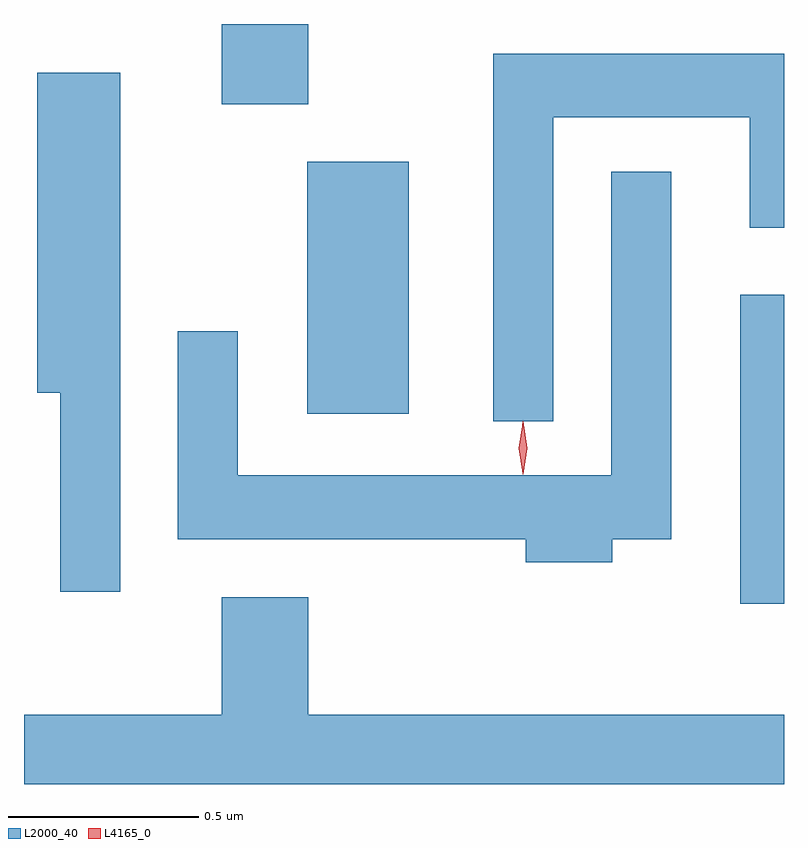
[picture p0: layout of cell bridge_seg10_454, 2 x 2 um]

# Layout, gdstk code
import gdstk
lib = gdstk.Library(unit=1e-6, precision=1e-09)
def R(c, l, rs):  # rectangles x0, y0, x1, y1
    for r in rs: c.add(gdstk.rectangle(r[:2], r[2:], *l))
def P(c, l, *ps):  # polygons
    for p in ps: c.add(gdstk.Polygon(p, *l))
L2000_40 = (2000, 40)
L4165_0 = (4165, 0)

bridge_seg10_454 = lib.new_cell('bridge_seg10_454')
R(bridge_seg10_454, L2000_40, [(1441.846,2085.616,1441.961,2086.429), (1440.706,2086.116,1440.974,2086.779), (1440.481,2086.931,1440.709,2087.142)])
P(bridge_seg10_454, L2000_40, [(1441.354,2086.896),(1441.871,2086.896),(1441.871,2086.606),(1441.961,2086.606),(1441.961,2087.064),(1441.196,2087.064),(1441.196,2086.097),(1441.354,2086.097)],
  [(1440.214,2087.014),(1439.996,2087.014),(1439.996,2086.171),(1440.056,2086.171),(1440.056,2085.648),(1440.214,2085.648)],
  [(1441.509,2085.786),(1441.664,2085.786),(1441.664,2086.753),(1441.506,2086.753),(1441.506,2085.954),(1440.524,2085.954),(1440.524,2086.333),(1440.366,2086.333),(1440.366,2085.786),(1441.281,2085.786),(1441.281,2085.726),(1441.509,2085.726)],
  [(1441.961,2085.324),(1440.709,2085.324),(1440.709,2085.634),(1440.481,2085.634),(1440.481,2085.324),(1439.961,2085.324),(1439.961,2085.142),(1441.961,2085.142)])
P(bridge_seg10_454, L4165_0, [(1441.274,2085.957),(1441.265,2086.026),(1441.274,2086.096),(1441.275,2086.096),(1441.275,2086.096),(1441.285,2086.026),(1441.275,2085.957),(1441.275,2085.957)],
  [(1441.273,2085.959),(1441.273,2085.96),(1441.263,2086.026),(1441.273,2086.092),(1441.273,2086.093),(1441.274,2086.092),(1441.283,2086.026),(1441.274,2085.96)])

lib.write_gds('bridge_seg10_454.gds')
